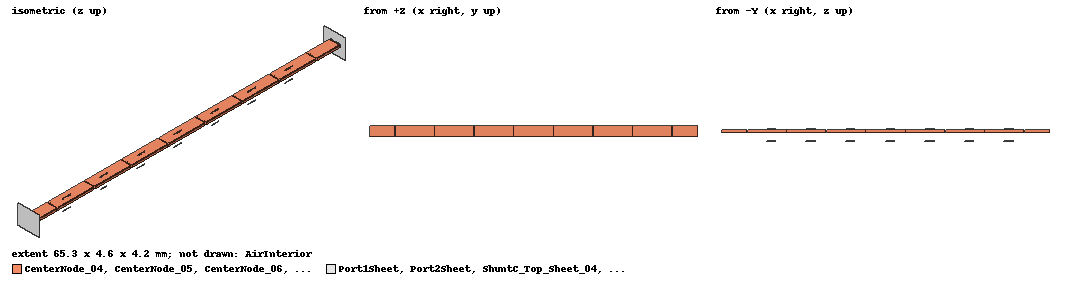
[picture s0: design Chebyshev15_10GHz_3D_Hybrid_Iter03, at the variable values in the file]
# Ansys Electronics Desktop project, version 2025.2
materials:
  vacuum: permittivity=1
  air: permittivity=1.0006 permeability=1.0000004
  copper: permeability=0.999991 conductivity=58000000
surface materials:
  Steel-oxidised-surface

design Chebyshev15_10GHz_3D_Hybrid_Iter03 (HFSS, HFSS Modal Network, model units mm)
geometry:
  AirInterior [air] = box(corner=(0mm, -2.3mm, -2.1mm), size=(65.3mm, 4.6mm, 4.2mm))
  CenterNode_00 [copper] = box(corner=(0mm, -1.1mm, -0.25mm), size=(5mm, 2.2mm, 0.5mm))
  CenterNode_01 [copper] = box(corner=(5.1mm, -1.1mm, -0.25mm), size=(7.7857143mm, 2.2mm, 0.5mm))
  CenterNode_02 [copper] = box(corner=(12.985714mm, -1.1mm, -0.25mm), size=(7.7857143mm, 2.2mm, 0.5mm))
  CenterNode_03 [copper] = box(corner=(20.871429mm, -1.1mm, -0.25mm), size=(7.7857143mm, 2.2mm, 0.5mm))
  CenterNode_04 [copper] = box(corner=(28.757143mm, -1.1mm, -0.25mm), size=(7.7857143mm, 2.2mm, 0.5mm))
  CenterNode_05 [copper] = box(corner=(36.642857mm, -1.1mm, -0.25mm), size=(7.7857143mm, 2.2mm, 0.5mm))
  CenterNode_06 [copper] = box(corner=(44.528571mm, -1.1mm, -0.25mm), size=(7.7857143mm, 2.2mm, 0.5mm))
  CenterNode_07 [copper] = box(corner=(52.414286mm, -1.1mm, -0.25mm), size=(7.7857143mm, 2.2mm, 0.5mm))
  CenterNode_08 [copper] = box(corner=(60.3mm, -1.1mm, -0.25mm), size=(5mm, 2.2mm, 0.5mm))
  CenterNode_00_1 = CenterNode_00.copy()
  CenterNode_01_1 = CenterNode_01.copy()
  CenterNode_02_1 = CenterNode_02.copy()
  CenterNode_03_1 = CenterNode_03.copy()
  CenterNode_04_1 = CenterNode_04.copy()
  CenterNode_05_1 = CenterNode_05.copy()
  CenterNode_06_1 = CenterNode_06.copy()
  CenterNode_07_1 = CenterNode_07.copy()
  CenterNode_08_1 = CenterNode_08.copy()
  AirInterior.subtract(CenterNode_00_1, CenterNode_01_1, CenterNode_02_1, CenterNode_03_1, CenterNode_04_1, CenterNode_05_1, CenterNode_06_1, CenterNode_07_1, CenterNode_08_1)
  SeriesL_Sheet_01 = rectangle(corner=(5mm, -1.1mm, 0mm), x_size=0.1mm, y_size=2.2mm)
  SeriesL_Sheet_02 = rectangle(corner=(12.885714mm, -1.1mm, 0mm), x_size=0.1mm, y_size=2.2mm)
  SeriesL_Sheet_03 = rectangle(corner=(20.771429mm, -1.1mm, 0mm), x_size=0.1mm, y_size=2.2mm)
  SeriesL_Sheet_04 = rectangle(corner=(28.657143mm, -1.1mm, 0mm), x_size=0.1mm, y_size=2.2mm)
  SeriesL_Sheet_05 = rectangle(corner=(36.542857mm, -1.1mm, 0mm), x_size=0.1mm, y_size=2.2mm)
  SeriesL_Sheet_06 = rectangle(corner=(44.428571mm, -1.1mm, 0mm), x_size=0.1mm, y_size=2.2mm)
  SeriesL_Sheet_07 = rectangle(corner=(52.314286mm, -1.1mm, 0mm), x_size=0.1mm, y_size=2.2mm)
  SeriesL_Sheet_08 = rectangle(corner=(60.2mm, -1.1mm, 0mm), x_size=0.1mm, y_size=2.2mm)
  ShuntC_Top_Sheet_02 = rectangle(corner=(8.9178571mm, 0mm, 0.25mm), z_size=0.15mm, x_size=1.85mm)
  ShuntC_Bottom_Sheet_02 = rectangle(corner=(8.9178571mm, 0mm, -2.1mm), z_size=0.15mm, x_size=1.85mm)
  ShuntC_Top_Sheet_04 = rectangle(corner=(16.803571mm, 0mm, 0.25mm), z_size=0.15mm, x_size=1.85mm)
  ShuntC_Bottom_Sheet_04 = rectangle(corner=(16.803571mm, 0mm, -2.1mm), z_size=0.15mm, x_size=1.85mm)
  ShuntC_Top_Sheet_06 = rectangle(corner=(24.689286mm, 0mm, 0.25mm), z_size=0.15mm, x_size=1.85mm)
  ShuntC_Bottom_Sheet_06 = rectangle(corner=(24.689286mm, 0mm, -2.1mm), z_size=0.15mm, x_size=1.85mm)
  ShuntC_Top_Sheet_08 = rectangle(corner=(32.575mm, 0mm, 0.25mm), z_size=0.15mm, x_size=1.85mm)
  ShuntC_Bottom_Sheet_08 = rectangle(corner=(32.575mm, 0mm, -2.1mm), z_size=0.15mm, x_size=1.85mm)
  ShuntC_Top_Sheet_10 = rectangle(corner=(40.460714mm, 0mm, 0.25mm), z_size=0.15mm, x_size=1.85mm)
  ShuntC_Bottom_Sheet_10 = rectangle(corner=(40.460714mm, 0mm, -2.1mm), z_size=0.15mm, x_size=1.85mm)
  ShuntC_Top_Sheet_12 = rectangle(corner=(48.346429mm, 0mm, 0.25mm), z_size=0.15mm, x_size=1.85mm)
  ShuntC_Bottom_Sheet_12 = rectangle(corner=(48.346429mm, 0mm, -2.1mm), z_size=0.15mm, x_size=1.85mm)
  ShuntC_Top_Sheet_14 = rectangle(corner=(56.232143mm, 0mm, 0.25mm), z_size=0.15mm, x_size=1.85mm)
  ShuntC_Bottom_Sheet_14 = rectangle(corner=(56.232143mm, 0mm, -2.1mm), z_size=0.15mm, x_size=1.85mm)
  Port1Sheet = rectangle(corner=(0mm, -2.3mm, -2.1mm), y_size=4.6mm, z_size=4.2mm)
  Port2Sheet = rectangle(corner=(65.3mm, -2.3mm, -2.1mm), y_size=4.6mm, z_size=4.2mm)
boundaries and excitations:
  ShieldWalls_PEC: Perfect E Faces=AirInterior.face(+z, -y, +y, -z)
  SeriesL_01: Lumped RLC Objects=SeriesL_Sheet_01 CurrentLine{(5.1, 0, 0) -> (5, 0, 0)} RLC_Type=Serial Inductance=9.7708053e-10H
  SeriesL_03: Lumped RLC Objects=SeriesL_Sheet_02 CurrentLine{(12.985714, 0, 0) -> (12.885714, 0, 0)} RLC_Type=Serial Inductance=1.7488972e-09H
  SeriesL_05: Lumped RLC Objects=SeriesL_Sheet_03 CurrentLine{(20.871429, 0, 0) -> (20.771429, 0, 0)} RLC_Type=Serial Inductance=1.8246038e-09H
  SeriesL_07: Lumped RLC Objects=SeriesL_Sheet_04 CurrentLine{(28.757143, 0, 0) -> (28.657143, 0, 0)} RLC_Type=Serial Inductance=1.8412488e-09H
  SeriesL_09: Lumped RLC Objects=SeriesL_Sheet_05 CurrentLine{(36.642857, 0, 0) -> (36.542857, 0, 0)} RLC_Type=Serial Inductance=1.8412488e-09H
  SeriesL_11: Lumped RLC Objects=SeriesL_Sheet_06 CurrentLine{(44.528571, 0, 0) -> (44.428571, 0, 0)} RLC_Type=Serial Inductance=1.8246038e-09H
  SeriesL_13: Lumped RLC Objects=SeriesL_Sheet_07 CurrentLine{(52.414286, 0, 0) -> (52.314286, 0, 0)} RLC_Type=Serial Inductance=1.7488972e-09H
  SeriesL_15: Lumped RLC Objects=SeriesL_Sheet_08 CurrentLine{(60.3, 0, 0) -> (60.2, 0, 0)} RLC_Type=Serial Inductance=9.7708053e-10H
  ShuntC_02_Top: Lumped RLC Objects=ShuntC_Top_Sheet_02 CurrentLine{(9.8428571, 0, 0.4) -> (9.8428571, 0, 0.25)} RLC_Type=Serial Capacitance=2.3595763e-13f
  ShuntC_02_Bottom: Lumped RLC Objects=ShuntC_Bottom_Sheet_02 CurrentLine{(9.8428571, 0, -1.95) -> (9.8428571, 0, -2.1)} RLC_Type=Serial Capacitance=2.3595763e-13f
  ShuntC_04_Top: Lumped RLC Objects=ShuntC_Top_Sheet_04 CurrentLine{(17.728571, 0, 0.4) -> (17.728571, 0, 0.25)} RLC_Type=Serial Capacitance=2.6582738e-13f
  ShuntC_04_Bottom: Lumped RLC Objects=ShuntC_Bottom_Sheet_04 CurrentLine{(17.728571, 0, -1.95) -> (17.728571, 0, -2.1)} RLC_Type=Serial Capacitance=2.6582738e-13f
  ShuntC_06_Top: Lumped RLC Objects=ShuntC_Top_Sheet_06 CurrentLine{(25.614286, 0, 0.4) -> (25.614286, 0, 0.25)} RLC_Type=Serial Capacitance=2.7090394e-13f
  ShuntC_06_Bottom: Lumped RLC Objects=ShuntC_Bottom_Sheet_06 CurrentLine{(25.614286, 0, -1.95) -> (25.614286, 0, -2.1)} RLC_Type=Serial Capacitance=2.7090394e-13f
  ShuntC_08_Top: Lumped RLC Objects=ShuntC_Top_Sheet_08 CurrentLine{(33.5, 0, 0.4) -> (33.5, 0, 0.25)} RLC_Type=Serial Capacitance=2.7192981e-13f
  ShuntC_08_Bottom: Lumped RLC Objects=ShuntC_Bottom_Sheet_08 CurrentLine{(33.5, 0, -1.95) -> (33.5, 0, -2.1)} RLC_Type=Serial Capacitance=2.7192981e-13f
  ShuntC_10_Top: Lumped RLC Objects=ShuntC_Top_Sheet_10 CurrentLine{(41.385714, 0, 0.4) -> (41.385714, 0, 0.25)} RLC_Type=Serial Capacitance=2.7090394e-13f
  ShuntC_10_Bottom: Lumped RLC Objects=ShuntC_Bottom_Sheet_10 CurrentLine{(41.385714, 0, -1.95) -> (41.385714, 0, -2.1)} RLC_Type=Serial Capacitance=2.7090394e-13f
  ShuntC_12_Top: Lumped RLC Objects=ShuntC_Top_Sheet_12 CurrentLine{(49.271429, 0, 0.4) -> (49.271429, 0, 0.25)} RLC_Type=Serial Capacitance=2.6582738e-13f
  ShuntC_12_Bottom: Lumped RLC Objects=ShuntC_Bottom_Sheet_12 CurrentLine{(49.271429, 0, -1.95) -> (49.271429, 0, -2.1)} RLC_Type=Serial Capacitance=2.6582738e-13f
  ShuntC_14_Top: Lumped RLC Objects=ShuntC_Top_Sheet_14 CurrentLine{(57.157143, 0, 0.4) -> (57.157143, 0, 0.25)} RLC_Type=Serial Capacitance=2.3595763e-13f
  ShuntC_14_Bottom: Lumped RLC Objects=ShuntC_Bottom_Sheet_14 CurrentLine{(57.157143, 0, -1.95) -> (57.157143, 0, -2.1)} RLC_Type=Serial Capacitance=2.3595763e-13f
  Port1: Wave Port Objects=Port1Sheet WavePortType=Modal NumModes=1 Modes{Mode1{CharImp=Zpi RenormImp=50ohm}}
  Port2: Wave Port Objects=Port2Sheet WavePortType=Modal NumModes=1 Modes{Mode1{CharImp=Zpi RenormImp=50ohm}}
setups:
  Setup1: HfssDriven Frequency=10GHz MaxDeltaS=0.02 MaximumPasses=12 MinimumPasses=3 MinimumConvergedPasses=2 PercentRefinement=30 BasisOrder=1 PortAccuracy=2 DrivenSolverType="Direct Solver"
    sweep Sweep1: 0.1GHz to 30GHz, 600 points; Type=Interpolating InterpTolerance=0.5 InterpMaxSolns=250 InterpUsePortImped=false PassivityErrorTolerance=0.0001
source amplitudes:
  Port1:1: 1W 0deg
  Port2:1: 0W 0deg
